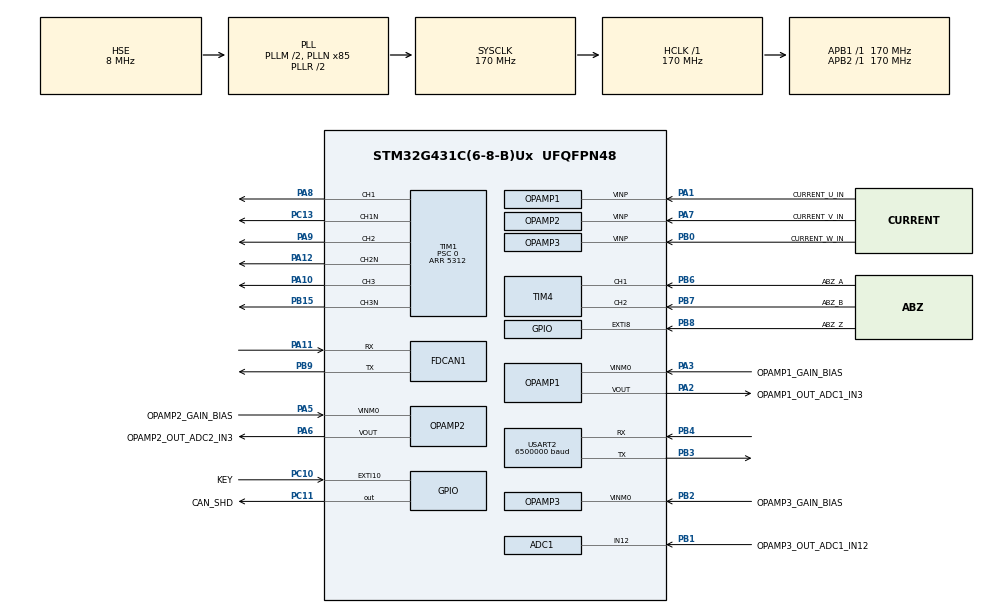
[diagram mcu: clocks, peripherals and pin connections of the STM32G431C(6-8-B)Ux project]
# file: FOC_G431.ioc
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ADC1.ClockPrescaler=ADC_CLOCK_ASYNC_DIV1
ADC1.ContinuousConvMode=DISABLE
ADC1.DMAContinuousRequests=DISABLE
ADC1.DataAlign=ADC_DATAALIGN_RIGHT
ADC1.DiscontinuousConvMode=DISABLE
ADC1.EOCSelection=ADC_EOC_SINGLE_CONV
ADC1.EnableAnalogWatchDog1=false
ADC1.EnableAnalogWatchDog2=false
ADC1.EnableAnalogWatchDog3=false
ADC1.EnableInjectedConversion=ENABLE
ADC1.EnableRegularConversion=DISABLE
ADC1.ExternalTrigInjecConv=ADC_EXTERNALTRIGINJEC_T1_TRGO
ADC1.ExternalTrigInjecConvEdge=ADC_EXTERNALTRIGINJECCONV_EDGE_RISING
ADC1.InjNumberOfConversion=2
ADC1.InjectedChannel-1\#ChannelInjectedConversion=ADC_CHANNEL_3
ADC1.InjectedChannel-2\#ChannelInjectedConversion=ADC_CHANNEL_12
ADC1.InjectedConvMode=None
ADC1.InjectedOffset-1\#ChannelInjectedConversion=0
ADC1.InjectedOffset-2\#ChannelInjectedConversion=0
ADC1.InjectedOffsetNumber-1\#ChannelInjectedConversion=ADC_OFFSET_NONE
ADC1.InjectedOffsetNumber-2\#ChannelInjectedConversion=ADC_OFFSET_NONE
ADC1.InjectedRank-1\#ChannelInjectedConversion=1
ADC1.InjectedRank-2\#ChannelInjectedConversion=2
ADC1.InjectedSamplingTime-1\#ChannelInjectedConversion=ADC_SAMPLETIME_6CYCLES_5
ADC1.InjectedSamplingTime-2\#ChannelInjectedConversion=ADC_SAMPLETIME_6CYCLES_5
ADC1.LowPowerAutoWait=DISABLE
ADC1.Overrun=ADC_OVR_DATA_PRESERVED
ADC1.Resolution=ADC_RESOLUTION_12B
ADC1.ScanConvMode=ADC_SCAN_ENABLE
ADC1.master=1
ADC2.ClockPrescaler=ADC_CLOCK_ASYNC_DIV1
ADC2.ContinuousConvMode=DISABLE
ADC2.DMAContinuousRequests=DISABLE
ADC2.DataAlign=ADC_DATAALIGN_RIGHT
ADC2.DiscontinuousConvMode=DISABLE
ADC2.EOCSelection=ADC_EOC_SINGLE_CONV
ADC2.EnableAnalogWatchDog1=false
ADC2.EnableAnalogWatchDog2=false
ADC2.EnableAnalogWatchDog3=false
ADC2.EnableInjectedConversion=ENABLE
ADC2.EnableRegularConversion=DISABLE
ADC2.ExternalTrigInjecConv=ADC_EXTERNALTRIGINJEC_T1_TRGO
ADC2.ExternalTrigInjecConvEdge=ADC_EXTERNALTRIGINJECCONV_EDGE_RISING
ADC2.InjNumberOfConversion=2
ADC2.InjectedChannel-1\#ChannelInjectedConversion=ADC_CHANNEL_VOPAMP3_ADC2
ADC2.InjectedChannel-2\#ChannelInjectedConversion=ADC_CHANNEL_3
ADC2.InjectedConvMode=None
ADC2.InjectedOffset-1\#ChannelInjectedConversion=0
ADC2.InjectedOffset-2\#ChannelInjectedConversion=0
ADC2.InjectedOffsetNumber-1\#ChannelInjectedConversion=ADC_OFFSET_NONE
ADC2.InjectedOffsetNumber-2\#ChannelInjectedConversion=ADC_OFFSET_NONE
ADC2.InjectedRank-1\#ChannelInjectedConversion=1
ADC2.InjectedRank-2\#ChannelInjectedConversion=2
ADC2.InjectedSamplingTime-1\#ChannelInjectedConversion=ADC_SAMPLETIME_6CYCLES_5
ADC2.InjectedSamplingTime-2\#ChannelInjectedConversion=ADC_SAMPLETIME_6CYCLES_5
ADC2.LowPowerAutoWait=DISABLE
ADC2.Overrun=ADC_OVR_DATA_PRESERVED
ADC2.Resolution=ADC_RESOLUTION_12B
ADC2.ScanConvMode=ADC_SCAN_ENABLE
ADC2.master=1
Dma.Request0=USART2_TX
Dma.Request1=USART2_RX
Dma.USART2_RX.1.Direction=DMA_PERIPH_TO_MEMORY
Dma.USART2_RX.1.EventEnable=DISABLE
Dma.USART2_RX.1.Instance=DMA1_Channel2
Dma.USART2_RX.1.MemDataAlignment=DMA_MDATAALIGN_BYTE
Dma.USART2_RX.1.MemInc=DMA_MINC_ENABLE
Dma.USART2_RX.1.Mode=DMA_NORMAL
Dma.USART2_RX.1.PeriphDataAlignment=DMA_PDATAALIGN_BYTE
Dma.USART2_RX.1.PeriphInc=DMA_PINC_DISABLE
Dma.USART2_RX.1.Polarity=HAL_DMAMUX_REQ_GEN_RISING
Dma.USART2_RX.1.Priority=DMA_PRIORITY_LOW
Dma.USART2_RX.1.RequestNumber=1
Dma.USART2_RX.1.SignalID=NONE
Dma.USART2_RX.1.SyncEnable=DISABLE
Dma.USART2_RX.1.SyncPolarity=HAL_DMAMUX_SYNC_NO_EVENT
Dma.USART2_RX.1.SyncRequestNumber=1
Dma.USART2_RX.1.SyncSignalID=NONE
Dma.USART2_TX.0.Direction=DMA_MEMORY_TO_PERIPH
Dma.USART2_TX.0.EventEnable=DISABLE
Dma.USART2_TX.0.Instance=DMA1_Channel1
Dma.USART2_TX.0.MemDataAlignment=DMA_MDATAALIGN_BYTE
Dma.USART2_TX.0.MemInc=DMA_MINC_ENABLE
Dma.USART2_TX.0.Mode=DMA_NORMAL
Dma.USART2_TX.0.PeriphDataAlignment=DMA_PDATAALIGN_BYTE
Dma.USART2_TX.0.PeriphInc=DMA_PINC_DISABLE
Dma.USART2_TX.0.Polarity=HAL_DMAMUX_REQ_GEN_RISING
Dma.USART2_TX.0.Priority=DMA_PRIORITY_LOW
Dma.USART2_TX.0.RequestNumber=1
Dma.USART2_TX.0.SignalID=NONE
Dma.USART2_TX.0.SyncEnable=DISABLE
Dma.USART2_TX.0.SyncPolarity=HAL_DMAMUX_SYNC_NO_EVENT
Dma.USART2_TX.0.SyncRequestNumber=1
Dma.USART2_TX.0.SyncSignalID=NONE
FDCAN1.AutoRetransmission=ENABLE
FDCAN1.ClockDivider=FDCAN_CLOCK_DIV1
FDCAN1.DataPrescaler=5
FDCAN1.DataSyncJumpWidth=3
FDCAN1.DataTimeSeg1=13
FDCAN1.DataTimeSeg2=3
FDCAN1.FrameFormat=FDCAN_FRAME_FD_BRS
FDCAN1.NominalPrescaler=20
FDCAN1.NominalSyncJumpWidth=3
FDCAN1.NominalTimeSeg1=13
FDCAN1.NominalTimeSeg2=3
FDCAN1.ProtocolException=DISABLE
FDCAN1.StdFiltersNbr=1
FDCAN1.TxFifoQueueMode=FDCAN_TX_QUEUE_OPERATION
Mcu.Family=STM32G4
Mcu.Name=STM32G431C(6-8-B)Ux
Mcu.Package=UFQFPN48
NVIC.ADC1_2_IRQn=true\:2\:0\:false\:false\:true\:true\:true\:true
NVIC.DMA1_Channel1_IRQn=true\:5\:0\:true\:false\:true\:false\:true\:true
NVIC.DMA1_Channel2_IRQn=true\:5\:0\:true\:false\:true\:false\:true\:true
NVIC.EXTI15_10_IRQn=true\:5\:0\:true\:false\:true\:true\:true\:true
NVIC.EXTI9_5_IRQn=true\:0\:0\:false\:false\:true\:true\:true\:true
NVIC.FDCAN1_IT0_IRQn=true\:6\:0\:true\:false\:true\:true\:true\:true\:true
NVIC.PriorityGroup=NVIC_PRIORITYGROUP_4
NVIC.TIM1_UP_TIM16_IRQn=true\:0\:0\:false\:false\:true\:true\:true\:true
NVIC.USART2_IRQn=true\:4\:0\:false\:false\:true\:false\:true\:true
OPAMP1.PgaGain=OPAMP_PGA_GAIN_16_OR_MINUS_15
OPAMP1.SelfCalibration=Disable
OPAMP2.PgaGain=OPAMP_PGA_GAIN_16_OR_MINUS_15
OPAMP2.SelfCalibration=Disable
OPAMP3.PgaGain=OPAMP_PGA_GAIN_16_OR_MINUS_15
OPAMP3.SelfCalibration=Disable
PA1.GPIO_Label=CURRENT_U_IN
PA1.Mode=PGA Connected-INVERTINGINPUT_IO0_BIAS
PA1.Signal=OPAMP1_VINP
PA10.GPIO_PuPd=GPIO_PULLDOWN
PA10.GPIO_Speed=GPIO_SPEED_FREQ_HIGH
PA10.Signal=S_TIM1_CH3
PA11.GPIO_Speed=GPIO_SPEED_FREQ_VERY_HIGH
PA11.Mode=FDCAN_Activate
PA11.Signal=FDCAN1_RX
PA12.GPIO_PuPd=GPIO_PULLDOWN
PA12.GPIO_Speed=GPIO_SPEED_FREQ_HIGH
PA12.Mode=PWM Generation2 CH2 CH2N
PA12.Signal=TIM1_CH2N
PA13.Mode=Serial_Wire
PA13.Signal=SYS_JTMS-SWDIO
PA14.Mode=Serial_Wire
PA14.Signal=SYS_JTCK-SWCLK
PA2.GPIO_Label=OPAMP1_OUT_ADC1_IN3
PA2.Signal=SharedAnalog_PA2
PA3.GPIO_Label=OPAMP1_GAIN_BIAS
PA3.Mode=PGA Connected-INVERTINGINPUT_IO0_BIAS
PA3.Signal=OPAMP1_VINM0
PA5.GPIO_Label=OPAMP2_GAIN_BIAS
PA5.Mode=PGA Connected-INVERTINGINPUT_IO0_BIAS
PA5.Signal=OPAMP2_VINM0
PA6.GPIO_Label=OPAMP2_OUT_ADC2_IN3
PA6.Signal=SharedAnalog_PA6
PA7.GPIO_Label=CURRENT_V_IN
PA7.Mode=PGA Connected-INVERTINGINPUT_IO0_BIAS
PA7.Signal=OPAMP2_VINP
PA8.GPIO_PuPd=GPIO_PULLDOWN
PA8.GPIO_Speed=GPIO_SPEED_FREQ_HIGH
PA8.Signal=S_TIM1_CH1
PA9.GPIO_PuPd=GPIO_PULLDOWN
PA9.GPIO_Speed=GPIO_SPEED_FREQ_HIGH
PA9.Signal=S_TIM1_CH2
PB0.GPIO_Label=CURRENT_W_IN
PB0.Mode=PGA Internally connected_IO0_BIAS
PB0.Signal=OPAMP3_VINP
PB1.GPIO_Label=OPAMP3_OUT_ADC1_IN12
PB1.Signal=SharedAnalog_PB1
PB15.GPIO_PuPd=GPIO_PULLDOWN
PB15.GPIO_Speed=GPIO_SPEED_FREQ_HIGH
PB15.Mode=PWM Generation3 CH3 CH3N
PB15.Signal=TIM1_CH3N
PB2.GPIO_Label=OPAMP3_GAIN_BIAS
PB2.Mode=PGA Internally connected_IO0_BIAS
PB2.Signal=OPAMP3_VINM0
PB3.GPIO_Speed=GPIO_SPEED_FREQ_VERY_HIGH
PB3.Mode=Asynchronous
PB3.Signal=USART2_TX
PB4.GPIO_Speed=GPIO_SPEED_FREQ_VERY_HIGH
PB4.Mode=Asynchronous
PB4.Signal=USART2_RX
PB6.GPIO_Label=ABZ_A
PB6.Signal=S_TIM4_CH1
PB7.GPIO_Label=ABZ_B
PB7.Signal=S_TIM4_CH2
PB8-BOOT0.GPIO_Label=ABZ_Z
PB8-BOOT0.GPIO_ModeDefaultEXTI=GPIO_MODE_IT_RISING
PB8-BOOT0.GPIO_PuPd=GPIO_PULLDOWN
PB8-BOOT0.Signal=GPXTI8
PB9.GPIO_Speed=GPIO_SPEED_FREQ_VERY_HIGH
PB9.Mode=FDCAN_Activate
PB9.Signal=FDCAN1_TX
PC11.GPIO_Label=CAN_SHD
PC11.PinState=GPIO_PIN_SET
PC11.Signal=GPIO_Output
PC10.GPIO_Label=KEY
PC10.GPIO_ModeDefaultEXTI=GPIO_MODE_IT_FALLING
PC10.Signal=GPXTI10
PC13.GPIO_PuPd=GPIO_PULLDOWN
PC13.GPIO_Speed=GPIO_SPEED_FREQ_HIGH
PC13.Mode=PWM Generation1 CH1 CH1N
PC13.Signal=TIM1_CH1N
PF0-OSC_IN.Mode=HSE-External-Oscillator
PF0-OSC_IN.Signal=RCC_OSC_IN
PF1-OSC_OUT.Mode=HSE-External-Oscillator
PF1-OSC_OUT.Signal=RCC_OSC_OUT
ProjectManager.HeapSize=0x200
ProjectManager.StackSize=0x400
ProjectManager.TargetToolchain=MDK-ARM V5.32
RCC.ADC12CLockSelection=RCC_ADC12CLKSOURCE_PLL
RCC.ADC12Freq_Value=42500000
RCC.AHBFreq_Value=170000000
RCC.APB1Freq_Value=170000000
RCC.APB1TimFreq_Value=170000000
RCC.APB2Freq_Value=170000000
RCC.APB2TimFreq_Value=170000000
RCC.CortexFreq_Value=170000000
RCC.EXTERNAL_CLOCK_VALUE=12288000
RCC.FDCANCLockSelection=RCC_FDCANCLKSOURCE_PCLK1
RCC.HCLKFreq_Value=170000000
RCC.HSE_VALUE=8000000
RCC.HSI48_VALUE=48000000
RCC.HSI_VALUE=16000000
RCC.LSE_VALUE=32768
RCC.PLLM=RCC_PLLM_DIV2
RCC.PLLN=85
RCC.PLLP=RCC_PLLP_DIV8
RCC.PLLSourceVirtual=RCC_PLLSOURCE_HSE
RCC.SYSCLKFreq_VALUE=170000000
RCC.SYSCLKSource=RCC_SYSCLKSOURCE_PLLCLK
RCC.USBFreq_Value=170000000
RCC.VCOOutputFreq_Value=340000000
SH.S_TIM1_CH1.0=TIM1_CH1,PWM Generation1 CH1 CH1N
SH.S_TIM1_CH2.0=TIM1_CH2,PWM Generation2 CH2 CH2N
SH.S_TIM1_CH3.0=TIM1_CH3,PWM Generation3 CH3 CH3N
SH.S_TIM4_CH1.0=TIM4_CH1,Encoder_Interface
SH.S_TIM4_CH2.0=TIM4_CH2,Encoder_Interface
SH.SharedAnalog_PA2.0=OPAMP1_VOUT,PGA Connected-INVERTINGINPUT_IO0_BIAS
SH.SharedAnalog_PA2.1=ADC1_IN3,IN3-Single-Ended
SH.SharedAnalog_PA6.0=OPAMP2_VOUT,PGA Connected-INVERTINGINPUT_IO0_BIAS
SH.SharedAnalog_PA6.1=ADC2_IN3,IN3-Single-Ended
SH.SharedAnalog_PB1.0=OPAMP3_VOUT
SH.SharedAnalog_PB1.1=ADC1_IN12,IN12-Single-Ended
TIM1.AutoReloadPreload=TIM_AUTORELOAD_PRELOAD_ENABLE
TIM1.Channel=TIM_CHANNEL_4
TIM1.Channel-PWM\ Generation1\ CH1\ CH1N=TIM_CHANNEL_1
TIM1.Channel-PWM\ Generation2\ CH2\ CH2N=TIM_CHANNEL_2
TIM1.Channel-PWM\ Generation3\ CH3\ CH3N=TIM_CHANNEL_3
TIM1.Channel-PWM\ Generation4\ No\ Output=TIM_CHANNEL_4
TIM1.ClockDivision=TIM_CLOCKDIVISION_DIV2
TIM1.CounterMode=TIM_COUNTERMODE_CENTERALIGNED1
TIM1.DeadTime=63
TIM1.OC4Preload_PWM=ENABLE
TIM1.OCMode_PWM-PWM\ Generation4\ No\ Output=TIM_OCMODE_PWM2
TIM1.OffStateIDLEMode=TIM_OSSI_ENABLE
TIM1.OffStateRunMode=TIM_OSSR_ENABLE
TIM1.PeriodNoDither=5312
TIM1.Prescaler=0
TIM1.PulseNoDither_4=5311
TIM1.RepetitionCounter=1
TIM1.TIM_MasterOutputTrigger=TIM_TRGO_OC4REF
TIM1.TIM_MasterOutputTrigger2=TIM_TRGO2_RESET
TIM1.TIM_MasterSlaveMode=TIM_MASTERSLAVEMODE_DISABLE
TIM4.EncoderMode=TIM_ENCODERMODE_TI12
TIM4.IC1Filter=15
TIM4.IC2Filter=15
USART2.BaudRate=6500000
USART2.VirtualMode-Asynchronous=VM_ASYNC
VP_ADC2_OPAMP_INTERNAL3.Mode=IN-OPAMP3
VP_SYS_VS_DBSignals.Mode=DisableDeadBatterySignals
VP_TIM1_VS_ClockSourceINT.Mode=Internal
VP_TIM1_VS_no_output4.Mode=PWM Generation4 No Output
board=custom

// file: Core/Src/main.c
/* USER CODE BEGIN Header */
/**
  ******************************************************************************
  * @file           : main.c
  * @brief          : Main program body
  ******************************************************************************
  * @attention
  *
  * Copyright (c) 2026 STMicroelectronics.
  * All rights reserved.
  *
  * This software is licensed under terms that can be found in the LICENSE file
  * in the root directory of this software component.
  * If no LICENSE file comes with this software, it is provided AS-IS.
  *
  ******************************************************************************
  */
/* USER CODE END Header */
#include "main.h"

/* USER CODE BEGIN Includes */

#include "foc_app.h"
#include "foc_calib.h"
#include "foc_cmd.h"
#include "foc_telemetry.h"
#include "abz_encoder.h"
#include "current_shunt.h"
#include "foc_can.h"
#include <stdio.h>

/* USER CODE END Includes */

/* USER CODE BEGIN PD */

/* 开环调试给定移到 foc_app.c：g_m0_openloop_vq / g_m0_openloop_rpm，
 * 依旧可以在 Keil Watch 中实时修改。 */

/* USER CODE END PD */

ADC_HandleTypeDef hadc1;
ADC_HandleTypeDef hadc2;

FDCAN_HandleTypeDef hfdcan1;

OPAMP_HandleTypeDef hopamp1;
OPAMP_HandleTypeDef hopamp2;
OPAMP_HandleTypeDef hopamp3;

TIM_HandleTypeDef htim1;
TIM_HandleTypeDef htim4;

UART_HandleTypeDef huart2;
DMA_HandleTypeDef hdma_usart2_tx;
DMA_HandleTypeDef hdma_usart2_rx;

/* USER CODE BEGIN PV */
volatile uint32_t g_abz_z_irq_count = 0;
/* Button EXTI only records the event; PWM/calibration actions run in main. */
volatile uint8_t g_key_pending = 0U;
volatile system_fault_diag_t g_system_fault_diag = {0};

/* USER CODE END PV */

void SystemClock_Config(void);
static void MX_GPIO_Init(void);
static void MX_DMA_Init(void);
static void MX_ADC1_Init(void);
static void MX_ADC2_Init(void);
static void MX_FDCAN1_Init(void);
static void MX_OPAMP1_Init(void);
static void MX_OPAMP2_Init(void);
static void MX_OPAMP3_Init(void);
static void MX_TIM1_Init(void);
static void MX_USART2_UART_Init(void);
static void MX_TIM4_Init(void);

/* USER CODE BEGIN 0 */

#define SYSTEM_BACKUP_MAGIC 0x464F4333UL /* "FOC3": backup layout version. */
#define SYSTEM_POWER_ARCHIVE_ARMED 0x50454E44UL /* "PEND" */
#define SYSTEM_POWER_ARCHIVE_VALID 0x43525348UL /* "CRSH" */

static uint8_t system_backup_access_ready = 0U;

/*
 * Open the backup domain and copy the last power-stage checkpoint into RAM.
 * TAMP backup registers survive an MCU reset and normally survive a short VDD
 * dip when VBAT remains powered. This must run before reset flags are cleared.
 */
void system_fault_diag_boot_init(void)
{
  uint32_t checkpoint;

  g_system_fault_diag.reset_flags = RCC->CSR;

  __HAL_RCC_PWR_CLK_ENABLE();
  __HAL_RCC_RTCAPB_CLK_ENABLE();
  SET_BIT(PWR->CR1, PWR_CR1_DBP);
  (void)READ_BIT(PWR->CR1, PWR_CR1_DBP);

  system_backup_access_ready = 1U;
  if (TAMP->BKP0R != SYSTEM_BACKUP_MAGIC)
  {
    TAMP->BKP11R = g_system_fault_diag.reset_flags;
    TAMP->BKP12R = 1U;
    TAMP->BKP13R = 0U;
    TAMP->BKP14R = 0U;
    TAMP->BKP15R = 0U;
    return;
  }

  checkpoint = TAMP->BKP1R;
  g_system_fault_diag.backup_valid = 1U;
  g_system_fault_diag.previous_checkpoint = checkpoint;
  g_system_fault_diag.previous_sequence = TAMP->BKP2R;
  g_system_fault_diag.previous_tick = TAMP->BKP3R;
  g_system_fault_diag.previous_tim1_bdtr = TAMP->BKP4R;
  g_system_fault_diag.previous_tim1_ccer = TAMP->BKP5R;
  g_system_fault_diag.previous_tim1_ccr1 = TAMP->BKP6R;
  g_system_fault_diag.previous_tim1_ccr2 = TAMP->BKP7R;
  g_system_fault_diag.previous_tim1_ccr3 = TAMP->BKP8R;
  g_system_fault_diag.previous_tim1_cnt = TAMP->BKP9R;
  g_system_fault_diag.previous_tim1_cr1 = TAMP->BKP10R;
  g_system_fault_diag.previous_boot_reset_flags = TAMP->BKP11R;
  g_system_fault_diag.previous_boot_count = TAMP->BKP12R;
  g_system_fault_diag.previous_event = checkpoint & 0xFFU;
  g_system_fault_diag.previous_pwm_stage = (checkpoint >> 8) & 0xFFU;
  g_system_fault_diag.previous_calib_state = (checkpoint >> 16) & 0xFFU;
  g_system_fault_diag.previous_foc_state = (checkpoint >> 24) & 0xFFU;

  /* Freeze the first reset following an energized-stage arm. Later resets
   * caused by reconnecting the debugger must not overwrite this evidence. */
  if (TAMP->BKP13R == SYSTEM_POWER_ARCHIVE_ARMED)
  {
    TAMP->BKP14R = checkpoint;
    TAMP->BKP15R = g_system_fault_diag.reset_flags;
    TAMP->BKP13R = SYSTEM_POWER_ARCHIVE_VALID;
  }

  if (TAMP->BKP13R == SYSTEM_POWER_ARCHIVE_VALID)
  {
    uint32_t archived = TAMP->BKP14R;

    g_system_fault_diag.power_reset_archive_valid = 1U;
    g_system_fault_diag.power_reset_checkpoint = archived;
    g_system_fault_diag.power_reset_flags = TAMP->BKP15R;
    g_system_fault_diag.power_reset_event = archived & 0xFFU;
    g_system_fault_diag.power_reset_pwm_stage = (archived >> 8) & 0xFFU;
    g_system_fault_diag.power_reset_calib_state = (archived >> 16) & 0xFFU;
    g_system_fault_diag.power_reset_foc_state = (archived >> 24) & 0xFFU;
  }

  /* Associate all checkpoints created by this boot with its original reset
   * cause. A later debugger-generated reset can then still reveal the cause
   * of the preceding power-stage reset through previous_boot_reset_flags. */
  TAMP->BKP11R = g_system_fault_diag.reset_flags;
  TAMP->BKP12R = TAMP->BKP12R + 1U;
}

/*
 * Persist the state immediately before a power-stage transition. Packing the
 * four byte-sized states into one register makes a torn write easy to spot.
 */
void system_power_checkpoint(uint32_t event,
                             uint32_t pwm_stage,
                             uint32_t calib_state,
                             uint32_t foc_state)
{
  uint32_t checkpoint;

  if (system_backup_access_ready == 0U)
  {
    return;
  }

  checkpoint = ((event & 0xFFU) |
                ((pwm_stage & 0xFFU) << 8) |
                ((calib_state & 0xFFU) << 16) |
                ((foc_state & 0xFFU) << 24));

  TAMP->BKP0R = SYSTEM_BACKUP_MAGIC;
  TAMP->BKP1R = checkpoint;
  TAMP->BKP2R = TAMP->BKP2R + 1U;
  TAMP->BKP3R = HAL_GetTick();

  if (__HAL_RCC_TIM1_IS_CLK_ENABLED())
  {
    TAMP->BKP4R = TIM1->BDTR;
    TAMP->BKP5R = TIM1->CCER;
    TAMP->BKP6R = TIM1->CCR1;
    TAMP->BKP7R = TIM1->CCR2;
    TAMP->BKP8R = TIM1->CCR3;
    TAMP->BKP9R = TIM1->CNT;
    TAMP->BKP10R = TIM1->CR1;
  }
  else
  {
    TAMP->BKP4R = 0U;
    TAMP->BKP5R = 0U;
    TAMP->BKP6R = 0U;
    TAMP->BKP7R = 0U;
    TAMP->BKP8R = 0U;
    TAMP->BKP9R = 0U;
    TAMP->BKP10R = 0U;
  }

  /* Arm once at the start of an energized operation. A normal completion or
   * an orderly RUN stop clears the archive so the next attempt starts fresh. */
  if ((event == (uint32_t)SYSTEM_CHECKPOINT_CALIB_START) ||
      ((event == (uint32_t)SYSTEM_CHECKPOINT_NORMAL_PWM_ON) &&
       (calib_state != (uint32_t)FOC_CALIB_NEUTRAL)))
  {
    TAMP->BKP13R = SYSTEM_POWER_ARCHIVE_ARMED;
    TAMP->BKP14R = 0U;
    TAMP->BKP15R = 0U;
  }
  else if ((event == (uint32_t)SYSTEM_CHECKPOINT_CALIB_DONE) ||
           (event == (uint32_t)SYSTEM_CHECKPOINT_CALIB_FAIL) ||
           (event == (uint32_t)SYSTEM_CHECKPOINT_RUN_STOP))
  {
    TAMP->BKP13R = 0U;
    TAMP->BKP14R = 0U;
    TAMP->BKP15R = 0U;
  }
  __DSB();
}

void system_fault_capture(uint32_t exception)
{
  g_system_fault_diag.exception = exception;
  g_system_fault_diag.cfsr = SCB->CFSR;
  g_system_fault_diag.hfsr = SCB->HFSR;
  g_system_fault_diag.dfsr = SCB->DFSR;
  g_system_fault_diag.afsr = SCB->AFSR;
  g_system_fault_diag.mmfar = SCB->MMFAR;
  g_system_fault_diag.bfar = SCB->BFAR;
  g_system_fault_diag.icsr = SCB->ICSR;
  g_system_fault_diag.rcc_csr = RCC->CSR;

  if (__HAL_RCC_TIM1_IS_CLK_ENABLED())
  {
    g_system_fault_diag.tim1_bdtr = TIM1->BDTR;
    g_system_fault_diag.tim1_ccer = TIM1->CCER;
    g_system_fault_diag.tim1_cnt = TIM1->CNT;
    g_system_fault_diag.tim1_cr1 = TIM1->CR1;
    CLEAR_BIT(TIM1->BDTR, TIM_BDTR_MOE);
  }
}

/* USER CODE END 0 */

int main(void)
{

  /* USER CODE BEGIN 1 */

  /* Capture reset source and the checkpoint left by the previous execution. */
  system_fault_diag_boot_init();
  __HAL_RCC_CLEAR_RESET_FLAGS();

  /* USER CODE END 1 */

  /* MCU Configuration--------------------------------------------------------*/

  /* Reset of all peripherals, Initializes the Flash interface and the Systick. */
  HAL_Init();

  /* 启用 STM32G4 片上硬件数学加速器 CORDIC 外设时钟 */
  __HAL_RCC_CORDIC_CLK_ENABLE();

  system_power_checkpoint(SYSTEM_CHECKPOINT_BOOT, 0U, 0U, 0U);

  /* Configure the system clock */
  SystemClock_Config();

  /* Initialize all configured peripherals */
  MX_GPIO_Init();
  MX_DMA_Init();
  MX_ADC1_Init();
  MX_ADC2_Init();
  MX_FDCAN1_Init();
  MX_OPAMP1_Init();
  MX_OPAMP2_Init();
  MX_OPAMP3_Init();
  MX_TIM1_Init();
  MX_USART2_UART_Init();
  MX_TIM4_Init();
  /* USER CODE BEGIN 2 */

  /* Keep command UART below the TIM1/ADC control interrupts. */
  HAL_NVIC_SetPriority(USART2_IRQn, 4, 0);

  foc_app_init();
  foc_can_init();
  if (foc_app_motor(0)->state != FOC_STATE_FAULT)
  {
    foc_cmd_print("Current offsets U/V/W: %u, %u, %u\r\n",
                  g_current_shunt_diag.offset_u,
                  g_current_shunt_diag.offset_v,
                  g_current_shunt_diag.offset_w);
    foc_cmd_print("FOC ready, %u axis. Press KEY to run, or type 'help' here.\r\n",
                  (unsigned)FOC_NUM_AXES);
  }
  else
  {
    foc_cmd_print("Current sensing not ready, shunt fault=%u\r\n",
                  g_current_shunt_diag.fault_code);
  }

  /* USER CODE END 2 */

  /* Infinite loop */
  while (1)
  {

    /* USER CODE BEGIN 3 */

    /* 全部应用逻辑（校准状态机/串口命令/健康监测）都在这里面 */
    foc_app_task();
    foc_can_task();

    /* Never enable PWM or start calibration from the GPIO ISR. */
    if (g_key_pending != 0U)
    {
      uint32_t primask = __get_PRIMASK();
      __disable_irq();
      g_key_pending = 0U;
      if (primask == 0U)
      {
        __enable_irq();
      }
      foc_app_on_key();
    }

  }
  /* USER CODE END 3 */
}

void SystemClock_Config(void)
{
  RCC_OscInitTypeDef RCC_OscInitStruct = {0};
  RCC_ClkInitTypeDef RCC_ClkInitStruct = {0};

  /** Configure the main internal regulator output voltage
  */
  HAL_PWREx_ControlVoltageScaling(PWR_REGULATOR_VOLTAGE_SCALE1_BOOST);

  /** Initializes the RCC Oscillators according to the specified parameters
  * in the RCC_OscInitTypeDef structure.
  */
  RCC_OscInitStruct.OscillatorType = RCC_OSCILLATORTYPE_HSE;
  RCC_OscInitStruct.HSEState = RCC_HSE_ON;
  RCC_OscInitStruct.PLL.PLLState = RCC_PLL_ON;
  RCC_OscInitStruct.PLL.PLLSource = RCC_PLLSOURCE_HSE;
  RCC_OscInitStruct.PLL.PLLM = RCC_PLLM_DIV2;
  RCC_OscInitStruct.PLL.PLLN = 85;
  RCC_OscInitStruct.PLL.PLLP = RCC_PLLP_DIV8;
  RCC_OscInitStruct.PLL.PLLQ = RCC_PLLQ_DIV2;
  RCC_OscInitStruct.PLL.PLLR = RCC_PLLR_DIV2;
  if (HAL_RCC_OscConfig(&RCC_OscInitStruct) != HAL_OK)
  {
    Error_Handler();
  }

  /** Initializes the CPU, AHB and APB buses clocks
  */
  RCC_ClkInitStruct.ClockType = RCC_CLOCKTYPE_HCLK|RCC_CLOCKTYPE_SYSCLK
                              |RCC_CLOCKTYPE_PCLK1|RCC_CLOCKTYPE_PCLK2;
  RCC_ClkInitStruct.SYSCLKSource = RCC_SYSCLKSOURCE_PLLCLK;
  RCC_ClkInitStruct.AHBCLKDivider = RCC_SYSCLK_DIV1;
  RCC_ClkInitStruct.APB1CLKDivider = RCC_HCLK_DIV1;
  RCC_ClkInitStruct.APB2CLKDivider = RCC_HCLK_DIV1;

  if (HAL_RCC_ClockConfig(&RCC_ClkInitStruct, FLASH_LATENCY_4) != HAL_OK)
  {
    Error_Handler();
  }
}

static void MX_FDCAN1_Init(void)
{
  /* 170 MHz kernel clock:
   * nominal: 170 MHz / (20 * 17 TQ) = 500 kbit/s
   * data:    170 MHz / ( 5 * 17 TQ) =   2 Mbit/s
   * sample point: (1 + 13) / 17 = 82.35 %. */
  hfdcan1.Instance = FDCAN1;
  hfdcan1.Init.ClockDivider = FDCAN_CLOCK_DIV1;
  hfdcan1.Init.FrameFormat = FDCAN_FRAME_FD_BRS;
  hfdcan1.Init.Mode = FDCAN_MODE_NORMAL;
#if FOC_CAN_AUTO_RETRANSMISSION
  hfdcan1.Init.AutoRetransmission = ENABLE;
#else
  hfdcan1.Init.AutoRetransmission = DISABLE;
#endif
  hfdcan1.Init.TransmitPause = DISABLE;
  hfdcan1.Init.ProtocolException = DISABLE;
  hfdcan1.Init.NominalPrescaler = 20;
  hfdcan1.Init.NominalSyncJumpWidth = 3;
  hfdcan1.Init.NominalTimeSeg1 = 13;
  hfdcan1.Init.NominalTimeSeg2 = 3;
  hfdcan1.Init.DataPrescaler = 5;
  hfdcan1.Init.DataSyncJumpWidth = 3;
  hfdcan1.Init.DataTimeSeg1 = 13;
  hfdcan1.Init.DataTimeSeg2 = 3;
  hfdcan1.Init.StdFiltersNbr = 1;
  hfdcan1.Init.ExtFiltersNbr = 0;
  hfdcan1.Init.TxFifoQueueMode = FDCAN_TX_QUEUE_OPERATION;
  if (HAL_FDCAN_Init(&hfdcan1) != HAL_OK)
  {
    Error_Handler();
  }
}

static void MX_ADC1_Init(void)
{

  ADC_MultiModeTypeDef multimode = {0};
  ADC_InjectionConfTypeDef sConfigInjected = {0};

  /** Common config
  */
  hadc1.Instance = ADC1;
  hadc1.Init.ClockPrescaler = ADC_CLOCK_ASYNC_DIV1;
  hadc1.Init.Resolution = ADC_RESOLUTION_12B;
  hadc1.Init.DataAlign = ADC_DATAALIGN_RIGHT;
  hadc1.Init.GainCompensation = 0;
  hadc1.Init.ScanConvMode = ADC_SCAN_ENABLE;
  hadc1.Init.EOCSelection = ADC_EOC_SINGLE_CONV;
  hadc1.Init.LowPowerAutoWait = DISABLE;
  hadc1.Init.ContinuousConvMode = DISABLE;
  hadc1.Init.NbrOfConversion = 1;
  hadc1.Init.DiscontinuousConvMode = DISABLE;
  hadc1.Init.DMAContinuousRequests = DISABLE;
  hadc1.Init.Overrun = ADC_OVR_DATA_PRESERVED;
  hadc1.Init.OversamplingMode = DISABLE;
  if (HAL_ADC_Init(&hadc1) != HAL_OK)
  {
    Error_Handler();
  }

  /** Configure the ADC multi-mode
  */
  multimode.Mode = ADC_MODE_INDEPENDENT;
  if (HAL_ADCEx_MultiModeConfigChannel(&hadc1, &multimode) != HAL_OK)
  {
    Error_Handler();
  }

  /** Configure Injected Channel
  */
  sConfigInjected.InjectedChannel = ADC_CHANNEL_3;
  sConfigInjected.InjectedRank = ADC_INJECTED_RANK_1;
  sConfigInjected.InjectedSamplingTime = ADC_SAMPLETIME_6CYCLES_5;
  sConfigInjected.InjectedSingleDiff = ADC_SINGLE_ENDED;
  sConfigInjected.InjectedOffsetNumber = ADC_OFFSET_NONE;
  sConfigInjected.InjectedOffset = 0;
  sConfigInjected.InjectedNbrOfConversion = 2;
  sConfigInjected.InjectedDiscontinuousConvMode = DISABLE;
  sConfigInjected.AutoInjectedConv = DISABLE;
  sConfigInjected.QueueInjectedContext = DISABLE;
  sConfigInjected.ExternalTrigInjecConv = ADC_EXTERNALTRIGINJEC_T1_TRGO;
  sConfigInjected.ExternalTrigInjecConvEdge = ADC_EXTERNALTRIGINJECCONV_EDGE_RISING;
  sConfigInjected.InjecOversamplingMode = DISABLE;
  if (HAL_ADCEx_InjectedConfigChannel(&hadc1, &sConfigInjected) != HAL_OK)
  {
    Error_Handler();
  }

  /** Configure Injected Channel
  */
  sConfigInjected.InjectedChannel = ADC_CHANNEL_12;
  sConfigInjected.InjectedRank = ADC_INJECTED_RANK_2;
  if (HAL_ADCEx_InjectedConfigChannel(&hadc1, &sConfigInjected) != HAL_OK)
  {
    Error_Handler();
  }
  /* USER CODE BEGIN ADC1_Init 2 */
  /** Configure Regular Channel for VBUS sensing (PA0 -> ADC1_IN1)
   *  软件单次触发，长采样时间 92.5 cycles 适配 16.3kΩ 分压输出阻抗。
   *  不开启连续转换，不使能 Regular 中断，完全避免干扰 TIM1 TRGO 触发的注入组电流采样。
   */
  {
    ADC_ChannelConfTypeDef sConfigRegular = {0};
    sConfigRegular.Channel = ADC_CHANNEL_1;
    sConfigRegular.Rank = ADC_REGULAR_RANK_1;
    sConfigRegular.SamplingTime = ADC_SAMPLETIME_92CYCLES_5;
    sConfigRegular.SingleDiff = ADC_SINGLE_ENDED;
    sConfigRegular.OffsetNumber = ADC_OFFSET_NONE;
    sConfigRegular.Offset = 0;
    if (HAL_ADC_ConfigChannel(&hadc1, &sConfigRegular) != HAL_OK)
    {
      Error_Handler();
    }
  }
  /* USER CODE END ADC1_Init 2 */

}

static void MX_ADC2_Init(void)
{

  ADC_InjectionConfTypeDef sConfigInjected = {0};

  /** Common config
  */
  hadc2.Instance = ADC2;
  hadc2.Init.ClockPrescaler = ADC_CLOCK_ASYNC_DIV1;
  hadc2.Init.Resolution = ADC_RESOLUTION_12B;
  hadc2.Init.DataAlign = ADC_DATAALIGN_RIGHT;
  hadc2.Init.GainCompensation = 0;
  hadc2.Init.ScanConvMode = ADC_SCAN_ENABLE;
  hadc2.Init.EOCSelection = ADC_EOC_SINGLE_CONV;
  hadc2.Init.LowPowerAutoWait = DISABLE;
  hadc2.Init.ContinuousConvMode = DISABLE;
  hadc2.Init.NbrOfConversion = 1;
  hadc2.Init.DiscontinuousConvMode = DISABLE;
  hadc2.Init.DMAContinuousRequests = DISABLE;
  hadc2.Init.Overrun = ADC_OVR_DATA_PRESERVED;
  hadc2.Init.OversamplingMode = DISABLE;
  if (HAL_ADC_Init(&hadc2) != HAL_OK)
  {
    Error_Handler();
  }

  /** Configure Injected Channel
  */
  sConfigInjected.InjectedChannel = ADC_CHANNEL_VOPAMP3_ADC2;
  sConfigInjected.InjectedRank = ADC_INJECTED_RANK_1;
  sConfigInjected.InjectedSamplingTime = ADC_SAMPLETIME_6CYCLES_5;
  sConfigInjected.InjectedSingleDiff = ADC_SINGLE_ENDED;
  sConfigInjected.InjectedOffsetNumber = ADC_OFFSET_NONE;
  sConfigInjected.InjectedOffset = 0;
  sConfigInjected.InjectedNbrOfConversion = 2;
  sConfigInjected.InjectedDiscontinuousConvMode = DISABLE;
  sConfigInjected.AutoInjectedConv = DISABLE;
  sConfigInjected.QueueInjectedContext = DISABLE;
  sConfigInjected.ExternalTrigInjecConv = ADC_EXTERNALTRIGINJEC_T1_TRGO;
  sConfigInjected.ExternalTrigInjecConvEdge = ADC_EXTERNALTRIGINJECCONV_EDGE_RISING;
  sConfigInjected.InjecOversamplingMode = DISABLE;
  if (HAL_ADCEx_InjectedConfigChannel(&hadc2, &sConfigInjected) != HAL_OK)
  {
    Error_Handler();
  }

  /** Configure Injected Channel
  */
  sConfigInjected.InjectedChannel = ADC_CHANNEL_3;
  sConfigInjected.InjectedRank = ADC_INJECTED_RANK_2;
  if (HAL_ADCEx_InjectedConfigChannel(&hadc2, &sConfigInjected) != HAL_OK)
  {
    Error_Handler();
  }

}

static void MX_OPAMP1_Init(void)
{

  hopamp1.Instance = OPAMP1;
  hopamp1.Init.PowerMode = OPAMP_POWERMODE_NORMALSPEED;
  hopamp1.Init.Mode = OPAMP_PGA_MODE;
  hopamp1.Init.NonInvertingInput = OPAMP_NONINVERTINGINPUT_IO0;
  hopamp1.Init.InternalOutput = DISABLE;
  hopamp1.Init.TimerControlledMuxmode = OPAMP_TIMERCONTROLLEDMUXMODE_DISABLE;
  hopamp1.Init.PgaConnect = OPAMP_PGA_CONNECT_INVERTINGINPUT_IO0_BIAS;
  hopamp1.Init.PgaGain = OPAMP_PGA_GAIN_16_OR_MINUS_15;
  hopamp1.Init.UserTrimming = OPAMP_TRIMMING_FACTORY;
  if (HAL_OPAMP_Init(&hopamp1) != HAL_OK)
  {
    Error_Handler();
  }

}

static void MX_OPAMP2_Init(void)
{

  hopamp2.Instance = OPAMP2;
  hopamp2.Init.PowerMode = OPAMP_POWERMODE_NORMALSPEED;
  hopamp2.Init.Mode = OPAMP_PGA_MODE;
  hopamp2.Init.NonInvertingInput = OPAMP_NONINVERTINGINPUT_IO0;
  hopamp2.Init.InternalOutput = DISABLE;
  hopamp2.Init.TimerControlledMuxmode = OPAMP_TIMERCONTROLLEDMUXMODE_DISABLE;
  hopamp2.Init.PgaConnect = OPAMP_PGA_CONNECT_INVERTINGINPUT_IO0_BIAS;
  hopamp2.Init.PgaGain = OPAMP_PGA_GAIN_16_OR_MINUS_15;
  hopamp2.Init.UserTrimming = OPAMP_TRIMMING_FACTORY;
  if (HAL_OPAMP_Init(&hopamp2) != HAL_OK)
  {
    Error_Handler();
  }

}

static void MX_OPAMP3_Init(void)
{

  hopamp3.Instance = OPAMP3;
  hopamp3.Init.PowerMode = OPAMP_POWERMODE_NORMALSPEED;
  hopamp3.Init.Mode = OPAMP_PGA_MODE;
  hopamp3.Init.NonInvertingInput = OPAMP_NONINVERTINGINPUT_IO0;
  hopamp3.Init.InternalOutput = ENABLE;
  hopamp3.Init.TimerControlledMuxmode = OPAMP_TIMERCONTROLLEDMUXMODE_DISABLE;
  hopamp3.Init.PgaConnect = OPAMP_PGA_CONNECT_INVERTINGINPUT_IO0_BIAS;
  hopamp3.Init.PgaGain = OPAMP_PGA_GAIN_16_OR_MINUS_15;
  hopamp3.Init.UserTrimming = OPAMP_TRIMMING_FACTORY;
  if (HAL_OPAMP_Init(&hopamp3) != HAL_OK)
  {
    Error_Handler();
  }

}

static void MX_TIM1_Init(void)
{

  TIM_ClockConfigTypeDef sClockSourceConfig = {0};
  TIM_MasterConfigTypeDef sMasterConfig = {0};
  TIM_OC_InitTypeDef sConfigOC = {0};
  TIM_BreakDeadTimeConfigTypeDef sBreakDeadTimeConfig = {0};

  htim1.Instance = TIM1;
  htim1.Init.Prescaler = 0;
  htim1.Init.CounterMode = TIM_COUNTERMODE_CENTERALIGNED1;
  htim1.Init.Period = 5312;
  htim1.Init.ClockDivision = TIM_CLOCKDIVISION_DIV2;
  htim1.Init.RepetitionCounter = 1;
  htim1.Init.AutoReloadPreload = TIM_AUTORELOAD_PRELOAD_ENABLE;
  if (HAL_TIM_Base_Init(&htim1) != HAL_OK)
  {
    Error_Handler();
  }
  sClockSourceConfig.ClockSource = TIM_CLOCKSOURCE_INTERNAL;
  if (HAL_TIM_ConfigClockSource(&htim1, &sClockSourceConfig) != HAL_OK)
  {
    Error_Handler();
  }
  if (HAL_TIM_PWM_Init(&htim1) != HAL_OK)
  {
    Error_Handler();
  }
  sMasterConfig.MasterOutputTrigger = TIM_TRGO_OC4REF;
  sMasterConfig.MasterOutputTrigger2 = TIM_TRGO2_RESET;
  sMasterConfig.MasterSlaveMode = TIM_MASTERSLAVEMODE_DISABLE;
  if (HAL_TIMEx_MasterConfigSynchronization(&htim1, &sMasterConfig) != HAL_OK)
  {
    Error_Handler();
  }
  sConfigOC.OCMode = TIM_OCMODE_PWM1;
  sConfigOC.Pulse = 0;
  sConfigOC.OCPolarity = TIM_OCPOLARITY_HIGH;
  sConfigOC.OCNPolarity = TIM_OCNPOLARITY_HIGH;
  sConfigOC.OCFastMode = TIM_OCFAST_DISABLE;
  sConfigOC.OCIdleState = TIM_OCIDLESTATE_RESET;
  sConfigOC.OCNIdleState = TIM_OCNIDLESTATE_RESET;
  if (HAL_TIM_PWM_ConfigChannel(&htim1, &sConfigOC, TIM_CHANNEL_1) != HAL_OK)
  {
    Error_Handler();
  }
  if (HAL_TIM_PWM_ConfigChannel(&htim1, &sConfigOC, TIM_CHANNEL_2) != HAL_OK)
  {
    Error_Handler();
  }
  if (HAL_TIM_PWM_ConfigChannel(&htim1, &sConfigOC, TIM_CHANNEL_3) != HAL_OK)
  {
    Error_Handler();
  }
  sConfigOC.OCMode = TIM_OCMODE_PWM2;
  sConfigOC.Pulse = 5311;
  if (HAL_TIM_PWM_ConfigChannel(&htim1, &sConfigOC, TIM_CHANNEL_4) != HAL_OK)
  {
    Error_Handler();
  }
  sBreakDeadTimeConfig.OffStateRunMode = TIM_OSSR_ENABLE;
  sBreakDeadTimeConfig.OffStateIDLEMode = TIM_OSSI_ENABLE;
  sBreakDeadTimeConfig.LockLevel = TIM_LOCKLEVEL_OFF;
  sBreakDeadTimeConfig.DeadTime = 63;
  sBreakDeadTimeConfig.BreakState = TIM_BREAK_DISABLE;
  sBreakDeadTimeConfig.BreakPolarity = TIM_BREAKPOLARITY_HIGH;
  sBreakDeadTimeConfig.BreakFilter = 0;
  sBreakDeadTimeConfig.BreakAFMode = TIM_BREAK_AFMODE_INPUT;
  sBreakDeadTimeConfig.Break2State = TIM_BREAK2_DISABLE;
  sBreakDeadTimeConfig.Break2Polarity = TIM_BREAK2POLARITY_HIGH;
  sBreakDeadTimeConfig.Break2Filter = 0;
  sBreakDeadTimeConfig.Break2AFMode = TIM_BREAK_AFMODE_INPUT;
  sBreakDeadTimeConfig.AutomaticOutput = TIM_AUTOMATICOUTPUT_DISABLE;
  if (HAL_TIMEx_ConfigBreakDeadTime(&htim1, &sBreakDeadTimeConfig) != HAL_OK)
  {
    Error_Handler();
  }
  HAL_TIM_MspPostInit(&htim1);

}

static void MX_TIM4_Init(void)
{

  TIM_Encoder_InitTypeDef sConfig = {0};
  TIM_MasterConfigTypeDef sMasterConfig = {0};

  htim4.Instance = TIM4;
  htim4.Init.Prescaler = 0;
  htim4.Init.CounterMode = TIM_COUNTERMODE_UP;
  htim4.Init.Period = 65535;
  htim4.Init.ClockDivision = TIM_CLOCKDIVISION_DIV1;
  htim4.Init.AutoReloadPreload = TIM_AUTORELOAD_PRELOAD_DISABLE;
  sConfig.EncoderMode = TIM_ENCODERMODE_TI12;
  sConfig.IC1Polarity = TIM_ICPOLARITY_RISING;
  sConfig.IC1Selection = TIM_ICSELECTION_DIRECTTI;
  sConfig.IC1Prescaler = TIM_ICPSC_DIV1;
  sConfig.IC1Filter = 2;
  sConfig.IC2Polarity = TIM_ICPOLARITY_RISING;
  sConfig.IC2Selection = TIM_ICSELECTION_DIRECTTI;
  sConfig.IC2Prescaler = TIM_ICPSC_DIV1;
  sConfig.IC2Filter = 2;
  if (HAL_TIM_Encoder_Init(&htim4, &sConfig) != HAL_OK)
  {
    Error_Handler();
  }
  sMasterConfig.MasterOutputTrigger = TIM_TRGO_RESET;
  sMasterConfig.MasterSlaveMode = TIM_MASTERSLAVEMODE_DISABLE;
  if (HAL_TIMEx_MasterConfigSynchronization(&htim4, &sMasterConfig) != HAL_OK)
  {
    Error_Handler();
  }

}

static void MX_USART2_UART_Init(void)
{

  huart2.Instance = USART2;
  huart2.Init.BaudRate = 6500000;
  huart2.Init.WordLength = UART_WORDLENGTH_8B;
  huart2.Init.StopBits = UART_STOPBITS_1;
  huart2.Init.Parity = UART_PARITY_NONE;
  huart2.Init.Mode = UART_MODE_TX_RX;
  huart2.Init.HwFlowCtl = UART_HWCONTROL_NONE;
  huart2.Init.OverSampling = UART_OVERSAMPLING_16;
  huart2.Init.OneBitSampling = UART_ONE_BIT_SAMPLE_DISABLE;
  huart2.Init.ClockPrescaler = UART_PRESCALER_DIV1;
  huart2.AdvancedInit.AdvFeatureInit = UART_ADVFEATURE_NO_INIT;
  if (HAL_UART_Init(&huart2) != HAL_OK)
  {
    Error_Handler();
  }
  if (HAL_UARTEx_SetTxFifoThreshold(&huart2, UART_TXFIFO_THRESHOLD_1_8) != HAL_OK)
  {
    Error_Handler();
  }
  if (HAL_UARTEx_SetRxFifoThreshold(&huart2, UART_RXFIFO_THRESHOLD_1_8) != HAL_OK)
  {
    Error_Handler();
  }
  if (HAL_UARTEx_DisableFifoMode(&huart2) != HAL_OK)
  {
    Error_Handler();
  }

}

static void MX_DMA_Init(void)
{

  /* DMA controller clock enable */
  __HAL_RCC_DMAMUX1_CLK_ENABLE();
  __HAL_RCC_DMA1_CLK_ENABLE();

  /* DMA interrupt init */
  /* DMA1_Channel1_IRQn interrupt configuration */
  HAL_NVIC_SetPriority(DMA1_Channel1_IRQn, 5, 0);
  HAL_NVIC_EnableIRQ(DMA1_Channel1_IRQn);
  /* DMA1_Channel2_IRQn interrupt configuration */
  HAL_NVIC_SetPriority(DMA1_Channel2_IRQn, 5, 0);
  HAL_NVIC_EnableIRQ(DMA1_Channel2_IRQn);

}

static void MX_GPIO_Init(void)
{
  GPIO_InitTypeDef GPIO_InitStruct = {0};

  /* GPIO Ports Clock Enable */
  __HAL_RCC_GPIOC_CLK_ENABLE();
  __HAL_RCC_GPIOF_CLK_ENABLE();
  __HAL_RCC_GPIOA_CLK_ENABLE();
  __HAL_RCC_GPIOB_CLK_ENABLE();

  /* SIT1042T S/STB is active high: hold the transceiver in standby while
   * FDCAN filters and interrupts are being configured. */
  HAL_GPIO_WritePin(CAN_SHD_GPIO_Port, CAN_SHD_Pin, GPIO_PIN_SET);

  /*Configure GPIO pin : CAN_SHD_Pin */
  GPIO_InitStruct.Pin = CAN_SHD_Pin;
  GPIO_InitStruct.Mode = GPIO_MODE_OUTPUT_PP;
  GPIO_InitStruct.Pull = GPIO_NOPULL;
  GPIO_InitStruct.Speed = GPIO_SPEED_FREQ_LOW;
  HAL_GPIO_Init(CAN_SHD_GPIO_Port, &GPIO_InitStruct);

  /*Configure GPIO pin : KEY_Pin */
  GPIO_InitStruct.Pin = KEY_Pin;
  GPIO_InitStruct.Mode = GPIO_MODE_IT_FALLING;
  GPIO_InitStruct.Pull = GPIO_NOPULL;
  HAL_GPIO_Init(KEY_GPIO_Port, &GPIO_InitStruct);

  /*Configure GPIO pin : ABZ_Z_Pin */
  GPIO_InitStruct.Pin = ABZ_Z_Pin;
  GPIO_InitStruct.Mode = GPIO_MODE_IT_RISING;
  GPIO_InitStruct.Pull = GPIO_PULLDOWN;
  HAL_GPIO_Init(ABZ_Z_GPIO_Port, &GPIO_InitStruct);

  /* EXTI interrupt init: Z-index priority must be below ADC1_2_IRQn (2,0) to prevent EMI jitter storms from starving FOC control */
  HAL_NVIC_SetPriority(EXTI9_5_IRQn, 3, 0);
  HAL_NVIC_EnableIRQ(EXTI9_5_IRQn);

  HAL_NVIC_SetPriority(EXTI15_10_IRQn, 5, 0);
  HAL_NVIC_EnableIRQ(EXTI15_10_IRQn);

}

/* USER CODE BEGIN 4 */

/**
 * @brief GPIO 外部中断回调：按键启停 + 编码器 Z 脉冲
 */
void HAL_GPIO_EXTI_Callback(uint16_t GPIO_Pin)
{
    static uint32_t last_press_time = 0;
    const uint32_t debounce_delay = 200; /* 按键消抖 200ms */

    if (GPIO_Pin == KEY_Pin)
    {
        uint32_t current_time = HAL_GetTick();

        if (current_time - last_press_time > debounce_delay)
        {
            last_press_time = current_time;
            g_key_pending = 1U;
        }
    }
    if (GPIO_Pin == ABZ_Z_Pin) {
      g_abz_z_irq_count++;
      abz_encoder_on_index();
    }
}

/**
 * @brief 定时器周期中断回调函数
 * @param htim 定时器句柄
 * @note 16kHz PWM更新时触发，执行FOC控制
 */
void HAL_TIM_PeriodElapsedCallback(TIM_HandleTypeDef *htim)
{
    if (htim->Instance == TIM1)
    {
        current_shunt_tim_update_irq();
    }
}

/* USER CODE END 4 */

void Error_Handler(void)
{
  /* USER CODE BEGIN Error_Handler_Debug */
  /* User can add his own implementation to report the HAL error return state */
  system_fault_capture(6U);
  __disable_irq();
  while (1)
  {
  }
  /* USER CODE END Error_Handler_Debug */
}
